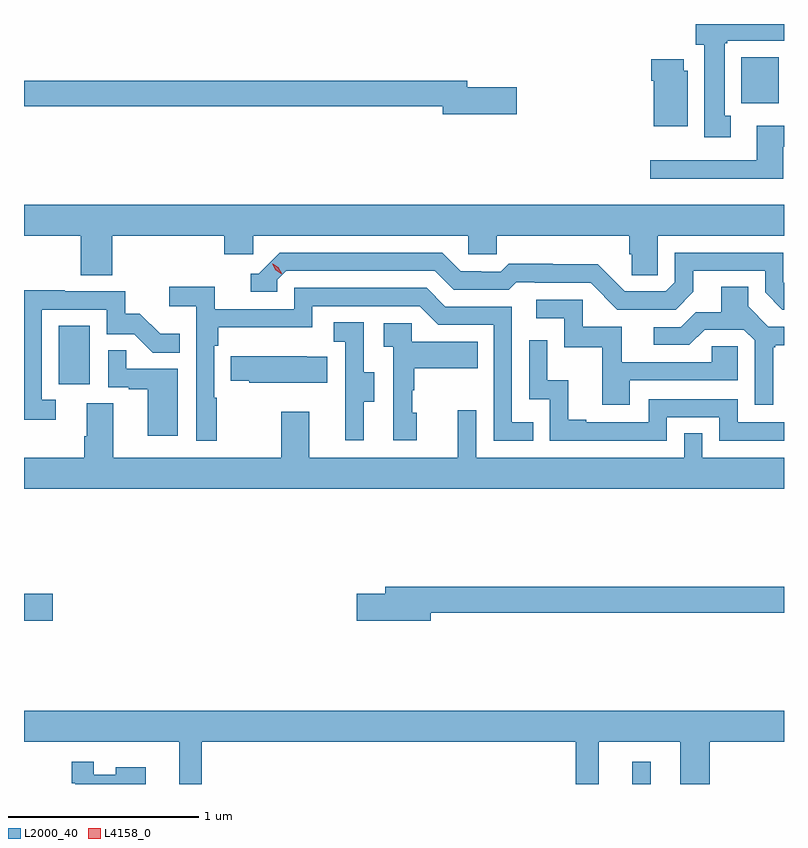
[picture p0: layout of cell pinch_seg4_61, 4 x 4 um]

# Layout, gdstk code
import gdstk
lib = gdstk.Library(unit=1e-6, precision=1e-09)
def R(c, l, rs):  # rectangles x0, y0, x1, y1
    for r in rs: c.add(gdstk.rectangle(r[:2], r[2:], *l))
def P(c, l, *ps):  # polygons
    for p in ps: c.add(gdstk.Polygon(p, *l))
L2000_40 = (2000, 40)
L4158_0 = (4158, 0)

pinch_seg4_61 = lib.new_cell('pinch_seg4_61')
R(pinch_seg4_61, L2000_40, [(1049.678,823.238,1049.776,823.354), (1046.478,824.098,1046.629,824.24), (1046.66,825.342,1046.824,825.649), (1050.254,826.82,1050.451,827.062)])
P(pinch_seg4_61, L2000_40, [(1050.199,826.754),(1050.166,826.754),(1050.166,827.137),(1050.18,827.137),(1050.18,827.15),(1050.478,827.15),(1050.478,827.238),(1050.014,827.238),(1050.014,827.13),(1050.059,827.13),(1050.059,826.641),(1050.199,826.641)],
  [(1049.971,826.992),(1049.95,826.992),(1049.95,827.053),(1049.78,827.053),(1049.78,826.94),(1049.792,826.94),(1049.792,826.7),(1049.971,826.7)],
  [(1049.071,826.904),(1048.81,826.904),(1048.81,826.94),(1046.478,826.94),(1046.478,826.804),(1048.682,826.804),(1048.682,826.762),(1049.071,826.762)],
  [(1050.475,826.593),(1050.478,826.593),(1050.478,826.702),(1050.335,826.702),(1050.335,826.521),(1049.775,826.521),(1049.775,826.424),(1050.475,826.424)],
  [(1046.942,826.124),(1047.533,826.124),(1047.533,826.026),(1047.684,826.026),(1047.684,826.124),(1048.815,826.124),(1048.815,826.026),(1048.965,826.026),(1048.965,826.124),(1049.663,826.124),(1049.663,826.026),(1049.677,826.026),(1049.677,825.916),(1049.814,825.916),(1049.814,826.124),(1050.478,826.124),(1050.478,826.288),(1046.478,826.288),(1046.478,826.124),(1046.777,826.124),(1046.777,825.916),(1046.942,825.916)],
  [(1050.001,825.829),(1050.001,825.939),(1050.378,825.939),(1050.378,825.825),(1050.468,825.735),(1050.478,825.735),(1050.478,825.875),(1050.474,825.879),(1050.474,826.035),(1049.904,826.035),(1049.904,825.879),(1049.856,825.831),(1049.64,825.831),(1049.498,825.973),(1049.262,825.973),(1049.262,825.976),(1049.029,825.976),(1048.987,825.933),(1048.884,825.933),(1048.884,825.936),(1048.777,825.936),(1048.678,826.035),(1047.825,826.035),(1047.714,825.924),(1047.671,825.924),(1047.671,825.828),(1047.81,825.828),(1047.81,825.891),(1047.858,825.939),(1048.641,825.939),(1048.74,825.84),(1049.029,825.84),(1049.068,825.879),(1049.167,825.879),(1049.167,825.876),(1049.46,825.876),(1049.601,825.735),(1049.907,825.735)],
  [(1047.493,825.272),(1047.48,825.272),(1047.48,825.545),(1047.5,825.545),(1047.5,825.641),(1047.996,825.641),(1047.996,825.753),(1048.56,825.753),(1048.659,825.654),(1048.95,825.654),(1048.95,825.045),(1049.159,825.045),(1049.159,825.141),(1049.046,825.141),(1049.046,825.75),(1048.696,825.75),(1048.597,825.849),(1047.9,825.849),(1047.9,825.738),(1047.482,825.738),(1047.482,825.854),(1047.243,825.854),(1047.243,825.752),(1047.384,825.752),(1047.384,825.045),(1047.493,825.045)],
  [(1050.421,825.537),(1050.433,825.537),(1050.433,825.548),(1050.478,825.548),(1050.478,825.645),(1050.396,825.645),(1050.289,825.752),(1050.289,825.854),(1050.149,825.854),(1050.149,825.722),(1050.014,825.722),(1049.934,825.642),(1049.793,825.642),(1049.793,825.549),(1049.98,825.549),(1050.061,825.63),(1050.267,825.63),(1050.324,825.573),(1050.324,825.234),(1050.421,825.234)],
  [(1046.644,825.261),(1046.571,825.261),(1046.571,825.735),(1046.913,825.735),(1046.913,825.606),(1047.057,825.606),(1047.155,825.508),(1047.299,825.508),(1047.299,825.607),(1047.195,825.607),(1047.088,825.714),(1047.012,825.714),(1047.012,825.831),(1046.693,825.831),(1046.693,825.836),(1046.478,825.836),(1046.478,825.156),(1046.644,825.156)],
  [(1049.665,825.363),(1050.234,825.363),(1050.234,825.543),(1050.097,825.543),(1050.097,825.459),(1049.623,825.459),(1049.623,825.645),(1049.418,825.645),(1049.418,825.786),(1049.175,825.786),(1049.175,825.69),(1049.322,825.69),(1049.322,825.537),(1049.521,825.537),(1049.521,825.234),(1049.665,825.234)],
  [(1048.267,825.25),(1048.321,825.25),(1048.321,825.405),(1048.266,825.405),(1048.266,825.668),(1048.107,825.668),(1048.107,825.565),(1048.17,825.565),(1048.17,825.261),(1048.169,825.261),(1048.169,825.048),(1048.267,825.048)],
  [(1048.546,825.192),(1048.521,825.192),(1048.521,825.311),(1048.531,825.311),(1048.531,825.425),(1048.865,825.425),(1048.865,825.565),(1048.518,825.565),(1048.518,825.663),(1048.371,825.663),(1048.371,825.539),(1048.422,825.539),(1048.422,825.048),(1048.546,825.048)],
  [(1049.862,825.168),(1050.138,825.168),(1050.138,825.045),(1050.478,825.045),(1050.478,825.141),(1050.234,825.141),(1050.234,825.264),(1049.766,825.264),(1049.766,825.141),(1049.437,825.141),(1049.437,825.154),(1049.342,825.154),(1049.342,825.362),(1049.232,825.362),(1049.232,825.574),(1049.136,825.574),(1049.136,825.264),(1049.244,825.264),(1049.244,825.045),(1049.862,825.045)],
  [(1047.286,825.423),(1047.017,825.423),(1047.017,825.521),(1046.922,825.521),(1046.922,825.327),(1047.029,825.327),(1047.029,825.315),(1047.128,825.315),(1047.128,825.072),(1047.286,825.072)],
  [(1048.073,825.487),(1047.965,825.487),(1047.965,825.49),(1047.565,825.49),(1047.565,825.361),(1047.663,825.361),(1047.663,825.35),(1048.073,825.35)],
  [(1050.478,824.956),(1050.048,824.956),(1050.048,825.083),(1049.952,825.083),(1049.952,824.956),(1048.857,824.956),(1048.857,825.205),(1048.76,825.205),(1048.76,824.956),(1047.979,824.956),(1047.979,825.196),(1047.832,825.196),(1047.832,824.956),(1046.947,824.956),(1046.947,825.242),(1046.807,825.242),(1046.807,825.068),(1046.795,825.068),(1046.795,824.956),(1046.478,824.956),(1046.478,824.792),(1050.478,824.792)],
  [(1048.618,824.14),(1050.478,824.14),(1050.478,824.276),(1048.379,824.276),(1048.379,824.24),(1048.23,824.24),(1048.23,824.098),(1048.618,824.098)],
  [(1047.413,823.46),(1049.382,823.46),(1049.382,823.238),(1049.503,823.238),(1049.503,823.46),(1049.933,823.46),(1049.933,823.238),(1050.086,823.238),(1050.086,823.46),(1050.478,823.46),(1050.478,823.624),(1046.478,823.624),(1046.478,823.46),(1047.296,823.46),(1047.296,823.238),(1047.413,823.238)],
  [(1047.118,823.327),(1046.96,823.327),(1046.96,823.288),(1046.844,823.288),(1046.844,823.354),(1046.728,823.354),(1046.728,823.241),(1046.748,823.241),(1046.748,823.238),(1047.118,823.238)])
P(pinch_seg4_61, L4158_0, [(1047.833,825.924),(1047.802,825.943),(1047.785,825.976),(1047.785,825.976),(1047.786,825.976),(1047.817,825.957),(1047.834,825.925),(1047.834,825.924)])

lib.write_gds('pinch_seg4_61.gds')
